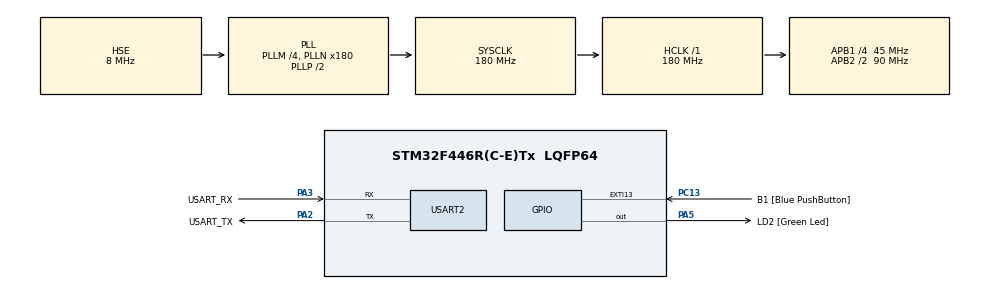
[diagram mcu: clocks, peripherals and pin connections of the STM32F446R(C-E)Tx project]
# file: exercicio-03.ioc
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FREERTOS.CountingSemaphores01=CountingSem,2,Dynamic,NULL,2
FREERTOS.Tasks01=Task01,32,128,StartTask01,Default,NULL,Dynamic,NULL,NULL;Task02,24,128,StartTask02,Default,NULL,Dynamic,NULL,NULL;Task03,16,128,StartTask03,Default,NULL,Dynamic,NULL,NULL
FREERTOS.configUSE_NEWLIB_REENTRANT=1
Mcu.Family=STM32F4
Mcu.Name=STM32F446R(C-E)Tx
Mcu.Package=LQFP64
NVIC.EXTI15_10_IRQn=true\:5\:0\:false\:false\:true\:true\:true\:true\:true
NVIC.PriorityGroup=NVIC_PRIORITYGROUP_4
NVIC.TIM2_IRQn=true\:15\:0\:false\:false\:true\:false\:false\:true\:true
NVIC.TimeBase=TIM2_IRQn
NVIC.TimeBaseIP=TIM2
PA13.GPIO_Label=TMS
PA13.Mode=Serial_Wire
PA13.Signal=SYS_JTMS-SWDIO
PA14.GPIO_Label=TCK
PA14.Mode=Serial_Wire
PA14.Signal=SYS_JTCK-SWCLK
PA2.GPIO_Label=USART_TX
PA2.Mode=Asynchronous
PA2.Signal=USART2_TX
PA3.GPIO_Label=USART_RX
PA3.Mode=Asynchronous
PA3.Signal=USART2_RX
PA5.GPIO_Label=LD2 [Green Led]
PA5.Signal=GPIO_Output
PB3.GPIO_Label=SWO
PB3.Signal=SYS_JTDO-SWO
PC13.GPIO_Label=B1 [Blue PushButton]
PC13.GPIO_ModeDefaultEXTI=GPIO_MODE_IT_FALLING
PC13.Signal=GPXTI13
PC14-OSC32_IN.Mode=LSE-External-Oscillator
PC14-OSC32_IN.Signal=RCC_OSC32_IN
PC15-OSC32_OUT.Mode=LSE-External-Oscillator
PC15-OSC32_OUT.Signal=RCC_OSC32_OUT
PH0-OSC_IN.Mode=HSE-External-Oscillator
PH0-OSC_IN.Signal=RCC_OSC_IN
PH1-OSC_OUT.Mode=HSE-External-Oscillator
PH1-OSC_OUT.Signal=RCC_OSC_OUT
ProjectManager.HeapSize=0x200
ProjectManager.StackSize=0x400
ProjectManager.TargetToolchain=STM32CubeIDE
RCC.48MHZClocksFreq_Value=84000000
RCC.AHBFreq_Value=180000000
RCC.APB1CLKDivider=RCC_HCLK_DIV4
RCC.APB1Freq_Value=45000000
RCC.APB1TimFreq_Value=90000000
RCC.APB2CLKDivider=RCC_HCLK_DIV2
RCC.APB2Freq_Value=90000000
RCC.APB2TimFreq_Value=180000000
RCC.CortexFreq_Value=180000000
RCC.FLatency-AdvancedSettings=FLASH_LATENCY_5
RCC.HCLKFreq_Value=180000000
RCC.HSE_VALUE=8000000
RCC.HSI_VALUE=16000000
RCC.PLLM=4
RCC.PLLN=180
RCC.PLLSourceVirtual=RCC_PLLSOURCE_HSE
RCC.SYSCLKFreq_VALUE=180000000
RCC.SYSCLKSource=RCC_SYSCLKSOURCE_PLLCLK
RCC.USBFreq_Value=180000000
RCC.VCOOutputFreq_Value=360000000
USART2.VirtualMode=VM_ASYNC
VP_FREERTOS_VS_CMSIS_V2.Mode=CMSIS_V2
VP_SYS_VS_tim2.Mode=TIM2
board=NUCLEO-F446RE

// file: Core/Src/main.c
/* USER CODE BEGIN Header */
/**
  ******************************************************************************
  * @file           : main.c
  * @brief          : Main program body
  ******************************************************************************
  * @attention
  *
  * Copyright (c) 2025 STMicroelectronics.
  * All rights reserved.
  *
  * This software is licensed under terms that can be found in the LICENSE file
  * in the root directory of this software component.
  * If no LICENSE file comes with this software, it is provided AS-IS.
  *
  ******************************************************************************
  */
/* USER CODE END Header */
#include "main.h"
#include "cmsis_os.h"

/* USER CODE BEGIN Includes */
#include <stdio.h>
#include <string.h>
/* USER CODE END Includes */

UART_HandleTypeDef huart2;

/* Definitions for Task01 */
osThreadId_t Task01Handle;
const osThreadAttr_t Task01_attributes = {
  .name = "Task01",
  .stack_size = 128 * 4,
  .priority = (osPriority_t) osPriorityAboveNormal,
};
/* Definitions for Task02 */
osThreadId_t Task02Handle;
const osThreadAttr_t Task02_attributes = {
  .name = "Task02",
  .stack_size = 128 * 4,
  .priority = (osPriority_t) osPriorityNormal,
};
/* Definitions for Task03 */
osThreadId_t Task03Handle;
const osThreadAttr_t Task03_attributes = {
  .name = "Task03",
  .stack_size = 128 * 4,
  .priority = (osPriority_t) osPriorityBelowNormal,
};
/* Definitions for CountingSem */
osSemaphoreId_t CountingSemHandle;
const osSemaphoreAttr_t CountingSem_attributes = {
  .name = "CountingSem"
};
/* USER CODE BEGIN PV */
int val_sem = 0;
char buffer[50];
/* USER CODE END PV */

void SystemClock_Config(void);
static void MX_GPIO_Init(void);
static void MX_USART2_UART_Init(void);
void StartTask01(void *argument);
void StartTask02(void *argument);
void StartTask03(void *argument);

int main(void)
{

  /* MCU Configuration--------------------------------------------------------*/

  /* Reset of all peripherals, Initializes the Flash interface and the Systick. */
  HAL_Init();

  /* Configure the system clock */
  SystemClock_Config();

  /* Initialize all configured peripherals */
  MX_GPIO_Init();
  MX_USART2_UART_Init();

  /* Init scheduler */
  osKernelInitialize();

  /* Create the semaphores(s) */
  /* creation of CountingSem */
  CountingSemHandle = osSemaphoreNew(2, 2, &CountingSem_attributes);

  /* Create the thread(s) */
  /* creation of Task01 */
  Task01Handle = osThreadNew(StartTask01, NULL, &Task01_attributes);

  /* creation of Task02 */
  Task02Handle = osThreadNew(StartTask02, NULL, &Task02_attributes);

  /* creation of Task03 */
  Task03Handle = osThreadNew(StartTask03, NULL, &Task03_attributes);

  /* Start scheduler */
  osKernelStart();

  /* We should never get here as control is now taken by the scheduler */

  /* Infinite loop */
  while (1)
  {

  }
}

void SystemClock_Config(void)
{
  RCC_OscInitTypeDef RCC_OscInitStruct = {0};
  RCC_ClkInitTypeDef RCC_ClkInitStruct = {0};

  /** Configure the main internal regulator output voltage
  */
  __HAL_RCC_PWR_CLK_ENABLE();
  __HAL_PWR_VOLTAGESCALING_CONFIG(PWR_REGULATOR_VOLTAGE_SCALE1);

  /** Initializes the RCC Oscillators according to the specified parameters
  * in the RCC_OscInitTypeDef structure.
  */
  RCC_OscInitStruct.OscillatorType = RCC_OSCILLATORTYPE_HSE;
  RCC_OscInitStruct.HSEState = RCC_HSE_ON;
  RCC_OscInitStruct.PLL.PLLState = RCC_PLL_ON;
  RCC_OscInitStruct.PLL.PLLSource = RCC_PLLSOURCE_HSE;
  RCC_OscInitStruct.PLL.PLLM = 4;
  RCC_OscInitStruct.PLL.PLLN = 180;
  RCC_OscInitStruct.PLL.PLLP = RCC_PLLP_DIV2;
  RCC_OscInitStruct.PLL.PLLQ = 2;
  RCC_OscInitStruct.PLL.PLLR = 2;
  if (HAL_RCC_OscConfig(&RCC_OscInitStruct) != HAL_OK)
  {
    Error_Handler();
  }

  /** Activate the Over-Drive mode
  */
  if (HAL_PWREx_EnableOverDrive() != HAL_OK)
  {
    Error_Handler();
  }

  /** Initializes the CPU, AHB and APB buses clocks
  */
  RCC_ClkInitStruct.ClockType = RCC_CLOCKTYPE_HCLK|RCC_CLOCKTYPE_SYSCLK
                              |RCC_CLOCKTYPE_PCLK1|RCC_CLOCKTYPE_PCLK2;
  RCC_ClkInitStruct.SYSCLKSource = RCC_SYSCLKSOURCE_PLLCLK;
  RCC_ClkInitStruct.AHBCLKDivider = RCC_SYSCLK_DIV1;
  RCC_ClkInitStruct.APB1CLKDivider = RCC_HCLK_DIV4;
  RCC_ClkInitStruct.APB2CLKDivider = RCC_HCLK_DIV2;

  if (HAL_RCC_ClockConfig(&RCC_ClkInitStruct, FLASH_LATENCY_5) != HAL_OK)
  {
    Error_Handler();
  }
}

static void MX_USART2_UART_Init(void)
{

  huart2.Instance = USART2;
  huart2.Init.BaudRate = 115200;
  huart2.Init.WordLength = UART_WORDLENGTH_8B;
  huart2.Init.StopBits = UART_STOPBITS_1;
  huart2.Init.Parity = UART_PARITY_NONE;
  huart2.Init.Mode = UART_MODE_TX_RX;
  huart2.Init.HwFlowCtl = UART_HWCONTROL_NONE;
  huart2.Init.OverSampling = UART_OVERSAMPLING_16;
  if (HAL_UART_Init(&huart2) != HAL_OK)
  {
    Error_Handler();
  }

}

static void MX_GPIO_Init(void)
{
  GPIO_InitTypeDef GPIO_InitStruct = {0};

  /* GPIO Ports Clock Enable */
  __HAL_RCC_GPIOC_CLK_ENABLE();
  __HAL_RCC_GPIOH_CLK_ENABLE();
  __HAL_RCC_GPIOA_CLK_ENABLE();
  __HAL_RCC_GPIOB_CLK_ENABLE();

  /*Configure GPIO pin Output Level */
  HAL_GPIO_WritePin(LD2_GPIO_Port, LD2_Pin, GPIO_PIN_RESET);

  /*Configure GPIO pin : B1_Pin */
  GPIO_InitStruct.Pin = B1_Pin;
  GPIO_InitStruct.Mode = GPIO_MODE_IT_FALLING;
  GPIO_InitStruct.Pull = GPIO_NOPULL;
  HAL_GPIO_Init(B1_GPIO_Port, &GPIO_InitStruct);

  /*Configure GPIO pin : LD2_Pin */
  GPIO_InitStruct.Pin = LD2_Pin;
  GPIO_InitStruct.Mode = GPIO_MODE_OUTPUT_PP;
  GPIO_InitStruct.Pull = GPIO_NOPULL;
  GPIO_InitStruct.Speed = GPIO_SPEED_FREQ_LOW;
  HAL_GPIO_Init(LD2_GPIO_Port, &GPIO_InitStruct);

  /* EXTI interrupt init*/
  HAL_NVIC_SetPriority(EXTI15_10_IRQn, 5, 0);
  HAL_NVIC_EnableIRQ(EXTI15_10_IRQn);

}

/* USER CODE BEGIN 4 */
void HAL_GPIO_EXTI_Callback(uint16_t GPIO_Pin) {
	if (GPIO_Pin == B1_Pin) // B1_Pin é o pino do botão (PC13)
	{
		osSemaphoreRelease(CountingSemHandle);
	}
}
/* USER CODE END 4 */

void StartTask01(void *argument)
{
  /* USER CODE BEGIN 5 */
  /* Infinite loop */
	for (;;) {
		HAL_UART_Transmit(&huart2, (uint8_t*) "task01 aguardando...\n",
				strlen("task01 aguardando...\n"), 10);

		osSemaphoreAcquire(CountingSemHandle, osWaitForever);

		val_sem = osSemaphoreGetCount(CountingSemHandle);

		int len = snprintf(buffer, sizeof(buffer),
				"task01 adquiriu semaforo: resta %d\n", val_sem);

		HAL_UART_Transmit(&huart2, (uint8_t*) buffer, len, 10);

		osDelay(1000);
	}
  /* USER CODE END 5 */
}

void StartTask02(void *argument)
{
  /* USER CODE BEGIN StartTask02 */
  /* Infinite loop */
	for (;;) {
		HAL_UART_Transmit(&huart2, (uint8_t*) "task02 aguardando...\n",
				strlen("task02 aguardando...\n"), 10);

		osSemaphoreAcquire(CountingSemHandle, osWaitForever);

		val_sem = osSemaphoreGetCount(CountingSemHandle);

		int len = snprintf(buffer, sizeof(buffer),
				"task02 adquiriu semaforo: resta %d\n", val_sem);

		HAL_UART_Transmit(&huart2, (uint8_t*) buffer, len, 10);

		osDelay(1000);
	}
  /* USER CODE END StartTask02 */
}

void StartTask03(void *argument)
{
  /* USER CODE BEGIN StartTask03 */
  /* Infinite loop */
	for (;;) {
		if (osSemaphoreGetCount(CountingSemHandle) == 0) {
			HAL_UART_Transmit(&huart2,
					(uint8_t*) "task03 liberando semaforos...\n",
					strlen("task03 liberando semaforos...\n"), 10);

			osSemaphoreRelease(CountingSemHandle);
			osSemaphoreRelease(CountingSemHandle);
		}

		osSemaphoreAcquire(CountingSemHandle, osWaitForever); // task03 dá acquire

		val_sem = osSemaphoreGetCount(CountingSemHandle);

		int len = snprintf(buffer, sizeof(buffer),
				"task03 adquiriu semaforo: resta %d\n", val_sem);

		HAL_UART_Transmit(&huart2, (uint8_t*) buffer, len, 10);

		osDelay(1000);
	}
  /* USER CODE END StartTask03 */
}

void HAL_TIM_PeriodElapsedCallback(TIM_HandleTypeDef *htim)
{
  if (htim->Instance == TIM2)
  {
    HAL_IncTick();
  }
}

void Error_Handler(void)
{
  __disable_irq();
  while (1)
  {
  }
}
